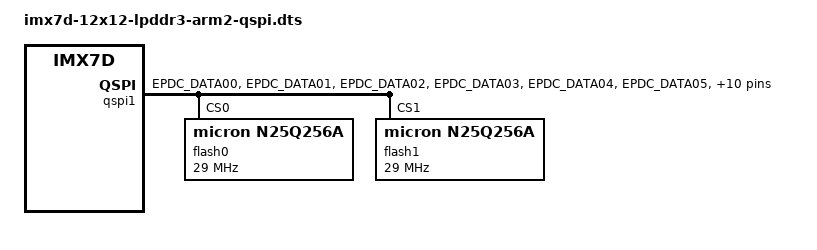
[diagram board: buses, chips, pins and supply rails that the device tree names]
/*
 * Copyright (C) 2015 Freescale Semiconductor, Inc.
 *
 * This program is free software; you can redistribute it and/or modify
 * it under the terms of the GNU General Public License version 2 as
 * published by the Free Software Foundation.
 */

#include "imx7d-12x12-lpddr3-arm2.dts"

/* disable epdc, conflict with qspi */
&epdc {
        status = "disabled";
};

&iomuxc {
	qspi1 {
		pinctrl_qspi1_1: qspi1grp_1 {
			fsl,pins = <
				MX7D_PAD_EPDC_DATA00__QSPI_A_DATA0 0x51
				MX7D_PAD_EPDC_DATA01__QSPI_A_DATA1 0x51
				MX7D_PAD_EPDC_DATA02__QSPI_A_DATA2 0x51
				MX7D_PAD_EPDC_DATA03__QSPI_A_DATA3 0x51
				MX7D_PAD_EPDC_DATA04__QSPI_A_DQS 0x51
				MX7D_PAD_EPDC_DATA05__QSPI_A_SCLK 0x51
				MX7D_PAD_EPDC_DATA06__QSPI_A_SS0_B 0x51
				MX7D_PAD_EPDC_DATA07__QSPI_A_SS1_B 0x51
				MX7D_PAD_EPDC_DATA08__QSPI_B_DATA0 0x51
				MX7D_PAD_EPDC_DATA09__QSPI_B_DATA1 0x51
				MX7D_PAD_EPDC_DATA10__QSPI_B_DATA2 0x51
				MX7D_PAD_EPDC_DATA11__QSPI_B_DATA3 0x51
				MX7D_PAD_EPDC_DATA12__QSPI_B_DQS 0x51
				MX7D_PAD_EPDC_DATA13__QSPI_B_SCLK 0x51
				MX7D_PAD_EPDC_DATA14__QSPI_B_SS0_B 0x51
				MX7D_PAD_EPDC_DATA15__QSPI_B_SS1_B 0x51
			>;
		};
	};
};

&qspi1 {
	pinctrl-names = "default";
	pinctrl-0 = <&pinctrl_qspi1_1>;
	status = "okay";
	ddrsmp=<0>;

	flash0: n25q256a@0 {
		#address-cells = <1>;
		#size-cells = <1>;
		compatible = "micron,n25q256a";
		spi-max-frequency = <29000000>;
		reg = <0>;
	};

	flash1: n25q256a@1 {
		#address-cells = <1>;
		#size-cells = <1>;
		compatible = "micron,n25q256a";
		spi-max-frequency = <29000000>;
		reg = <1>;
	};
};
